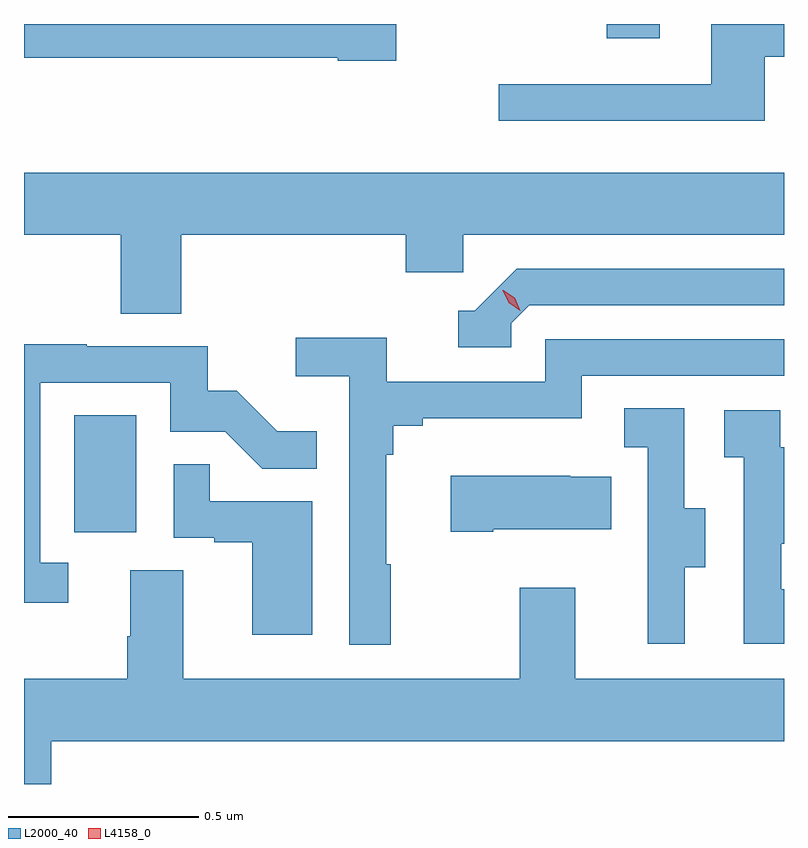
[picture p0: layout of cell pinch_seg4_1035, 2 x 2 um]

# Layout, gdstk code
import gdstk
lib = gdstk.Library(unit=1e-6, precision=1e-09)
def R(c, l, rs):  # rectangles x0, y0, x1, y1
    for r in rs: c.add(gdstk.rectangle(r[:2], r[2:], *l))
def P(c, l, *ps):  # polygons
    for p in ps: c.add(gdstk.Polygon(p, *l))
L2000_40 = (2000, 40)
L4158_0 = (4158, 0)

pinch_seg4_1035 = lib.new_cell('pinch_seg4_1035')
R(pinch_seg4_1035, L2000_40, [(808.01,774.726,808.174,775.033), (809.411,776.025,809.551,776.063)])
P(pinch_seg4_1035, L2000_40, [(809.827,775.977),(809.878,775.977),(809.878,776.063),(809.687,776.063),(809.687,775.905),(809.127,775.905),(809.127,775.808),(809.827,775.808)],
  [(808.858,776.063),(807.878,776.063),(807.878,775.974),(808.704,775.974),(808.704,775.966),(808.858,775.966)],
  [(808.292,775.508),(808.883,775.508),(808.883,775.41),(809.034,775.41),(809.034,775.508),(809.878,775.508),(809.878,775.672),(807.878,775.672),(807.878,775.508),(808.132,775.508),(808.132,775.3),(808.292,775.3)],
  [(809.16,775.275),(809.208,775.323),(809.878,775.323),(809.878,775.419),(809.175,775.419),(809.064,775.308),(809.021,775.308),(809.021,775.212),(809.16,775.212)],
  [(808.843,774.641),(808.831,774.641),(808.831,774.929),(808.85,774.929),(808.85,775.006),(808.927,775.006),(808.927,775.025),(809.346,775.025),(809.346,775.137),(809.878,775.137),(809.878,775.233),(809.25,775.233),(809.25,775.122),(808.832,775.122),(808.832,775.238),(808.593,775.238),(808.593,775.136),(808.734,775.136),(808.734,774.429),(808.843,774.429)],
  [(807.994,774.645),(807.921,774.645),(807.921,775.119),(808.263,775.119),(808.263,774.99),(808.407,774.99),(808.505,774.892),(808.649,774.892),(808.649,774.991),(808.545,774.991),(808.438,775.098),(808.362,775.098),(808.362,775.215),(808.043,775.215),(808.043,775.22),(807.878,775.22),(807.878,774.54),(807.994,774.54)],
  [(809.617,774.634),(809.671,774.634),(809.671,774.789),(809.616,774.789),(809.616,775.052),(809.457,775.052),(809.457,774.949),(809.52,774.949),(809.52,774.645),(809.519,774.645),(809.519,774.432),(809.617,774.432)],
  [(809.878,774.576),(809.871,774.576),(809.871,774.695),(809.878,774.695),(809.878,774.949),(809.868,774.949),(809.868,775.047),(809.721,775.047),(809.721,774.923),(809.772,774.923),(809.772,774.432),(809.878,774.432)],
  [(808.636,774.807),(808.367,774.807),(808.367,774.905),(808.272,774.905),(808.272,774.711),(808.379,774.711),(808.379,774.699),(808.478,774.699),(808.478,774.456),(808.636,774.456)],
  [(809.113,774.734),(809.423,774.734),(809.423,774.871),(809.315,774.871),(809.315,774.874),(809.001,774.874),(809.001,774.727),(809.113,774.727)],
  [(807.95,774.176),(809.878,774.176),(809.878,774.34),(809.329,774.34),(809.329,774.58),(809.182,774.58),(809.182,774.34),(808.297,774.34),(808.297,774.626),(808.157,774.626),(808.157,774.452),(808.15,774.452),(808.15,774.34),(807.878,774.34),(807.878,774.063),(807.95,774.063)])
P(pinch_seg4_1035, L4158_0, [(809.184,775.309),(809.154,775.329),(809.138,775.363),(809.138,775.363),(809.139,775.363),(809.169,775.342),(809.184,775.309),(809.184,775.309)])

lib.write_gds('pinch_seg4_1035.gds')
